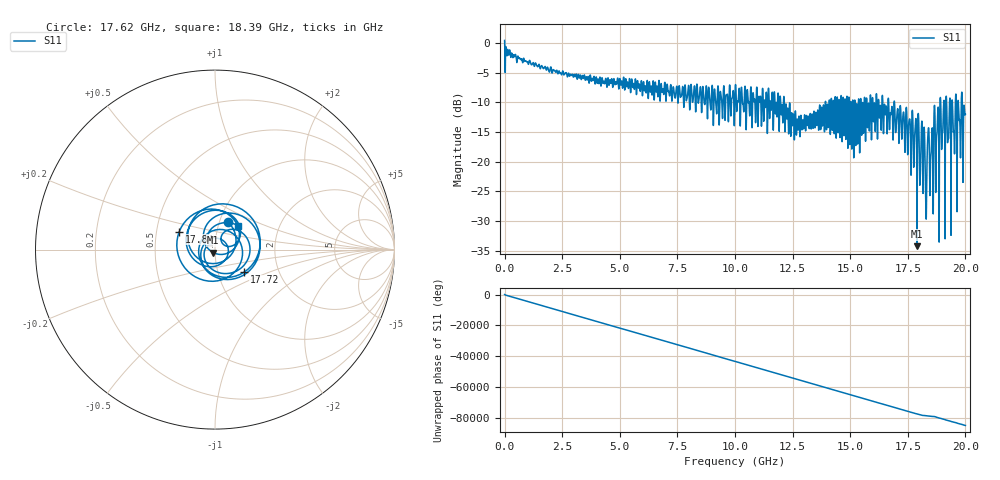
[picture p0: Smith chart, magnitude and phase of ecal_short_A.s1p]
! MS46122B
! 2250307/22442219
! 7/21/2025 12:00:31 PM
! C:\USERS\SPARKY\DOCUMENTS\VNA_DATA\JULY21_2025\ECAL_SHORT_A.S1P
! CHANNEL.1
! TR.MEASUREMENT
! RAW.DATA
# GHZ S RI R 50.0
! FREQ.GHZ  S11RE  S11IM
!; PortSelection: Port_1
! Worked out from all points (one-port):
!   10001 points, 1 MHz to 20 GHz, reference 50 ohm
!   lowest |S11| = -34.2 dB at 17.9 GHz (marker M1), VSWR 1.04, Z = 48.9 - j1.59 ohm
!   |S11| at or under -10 dB: 12.14 GHz to 13.92 GHz (1.781 GHz wide, 13.7 % of centre); 16.67 GHz to 16.91 GHz (235.5 MHz wide, 1.4 % of centre); 16.92 GHz to 18.9 GHz (1.975 GHz wide, 11 % of centre) (the widest 3 of 73)
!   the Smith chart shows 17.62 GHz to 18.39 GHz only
!   S11 on the Smith chart (normalised r, x): 17.62 GHz: 1.10, +0.35; 17.72 GHz: 1.34, -0.35; 17.84 GHz: 0.66, +0.14; 18.39 GHz: 1.24, +0.34
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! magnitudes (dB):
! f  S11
! 1 MHz  0.4
! 2.501 GHz  -5.0
! 5.001 GHz  -6.0
! 7.501 GHz  -8.4
! 10 GHz  -8.3
! 11.79 GHz  -10.0
! 12.5 GHz  -13.9
! 15 GHz  -13.6
! 16.32 GHz  -10.8
! 17.5 GHz  -18.7
! 17.62 GHz  -15.4
! 17.72 GHz  -13.7
! 17.77 GHz  -18.1
! 17.84 GHz  -13.0
! 17.9 GHz  -34.2
! 17.98 GHz  -13.8
! 18.16 GHz  -25.3
! 18.24 GHz  -18.2
! 18.39 GHz  -14.6
! 18.99 GHz  -15.9
! 19.04 GHz  -12.5
! 19.25 GHz  -15.9
! 19.29 GHz  -12.5
! 19.38 GHz  -22.6
! 19.45 GHz  -12.4
! 19.51 GHz  -15.2
! 19.56 GHz  -11.5
! 20 GHz  -12.0
